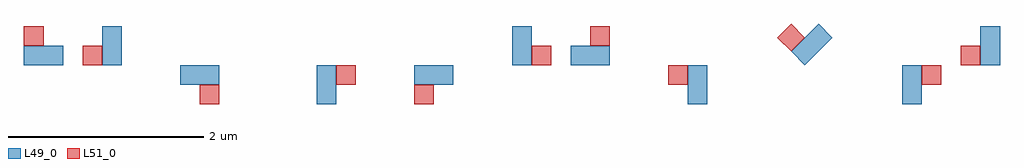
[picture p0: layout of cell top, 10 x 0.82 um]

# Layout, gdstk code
from math import pi, radians
import gdstk
lib = gdstk.Library(unit=1e-6, precision=1e-09)
def R(c, l, rs):  # rectangles x0, y0, x1, y1
    for r in rs: c.add(gdstk.rectangle(r[:2], r[2:], *l))
L49_0 = (49, 0)
L51_0 = (51, 0)

c_c = lib.new_cell('c')
R(c_c, L49_0, [(0,0,0.4,0.2)])
R(c_c, L51_0, [(0,0.2,0.2,0.4)])

top = lib.new_cell('top')
top.add(gdstk.Reference(c_c, (0,0)))
top.add(gdstk.Reference(c_c, (1,0), rotation=pi/2))
top.add(gdstk.Reference(c_c, (2,0), rotation=pi))
top.add(gdstk.Reference(c_c, (3,0), rotation=3*pi/2))
top.add(gdstk.Reference(c_c, (4,0), x_reflection=True))
top.add(gdstk.Reference(c_c, (5,0), rotation=pi/2, x_reflection=True))
top.add(gdstk.Reference(c_c, (6,0), rotation=pi, x_reflection=True))
top.add(gdstk.Reference(c_c, (7,0), rotation=3*pi/2, x_reflection=True))
top.add(gdstk.Reference(c_c, (8,0), rotation=radians(44.9)))
top.add(gdstk.Reference(c_c, (9,0), rotation=3*pi/2))
top.add(gdstk.Reference(c_c, (10,0), rotation=pi/2))

lib.write_gds('top.gds')
